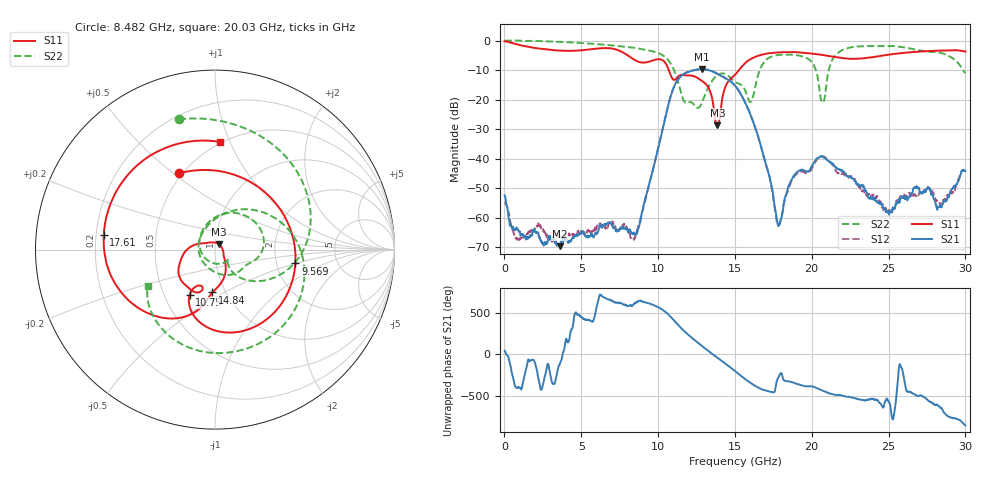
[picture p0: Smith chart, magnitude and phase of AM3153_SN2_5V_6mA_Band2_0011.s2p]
!Agilent Technologies,E8364B,MY43040894,A.07.50.67
!Agilent E8364B: A.07.50.67
!Date: Tuesday, May 12, 2020 09:50:07
!Correction: S11(Full 2 Port(1,2))
!S21(Full 2 Port(1,2))
!S12(Full 2 Port(1,2))
!S22(Full 2 Port(1,2))
!S2P File: Measurements: S11, S21, S12, S22:
# Hz S  dB  R 50
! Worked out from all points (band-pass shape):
!   1601 points, 10 MHz to 30 GHz, reference 50 ohm
!   highest |S21| = -9.70 dB at 12.85 GHz (marker M1); lowest = -69.6 dB at 3.609 GHz (marker M2)
!   |S21| within 3 dB of the highest: 11.37 GHz to 14.37 GHz (2.999 GHz wide, 23.3 % of centre)
!   lowest |S11| = -28.7 dB at 13.86 GHz (marker M3), VSWR 1.08, Z = 52.3 + j3.01 ohm
!   |S11| at or under -10 dB: 10.7 GHz to 15.26 GHz (4.564 GHz wide, 35.2 % of centre)
!   |S22| runs from -22.8 to 0.1 dB; largest |S21 - S12| = 0.0053
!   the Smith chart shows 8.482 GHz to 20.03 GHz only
!   S11 on the Smith chart (normalised r, x): 8.482 GHz: 0.48, +0.52; 9.569 GHz: 2.55, -0.50; 10.75 GHz: 0.67, -0.37; 14.84 GHz: 0.87, -0.44; 17.61 GHz: 0.23, +0.06; 20.03 GHz: 0.49, +0.92
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1e7  -0.21 -6.8  -52.40 45.7  -55.11 -141.7  0.01 -2.0
8.722125e8  -1.34 -78.3  -63.92 -37.8  -67.03 -75.0  0.02 -25.9
1.903119e9  -2.43 -150.1  -64.12 -67.2  -64.72 -38.5  -0.09 -56.7
3.6088e9  -3.39 114.1  -69.62 -111.4  -66.16 -152.6  -0.44 -106.4
5.014581e9  -3.27 34.7  -64.79 92.0  -65.28 105.2  -0.83 -146.7
6.813981e9  -2.57 -87.3  -61.58 -59.8  -61.89 -62.1  -1.54 160.9
7.676194e9  -3.90 -161.0  -63.05 -108.4  -63.04 -102.6  -1.97 133.3
8.482175e9  -6.57 115.2  -65.29 -99.4  -66.75 -121.8  -2.47 105.5
9.569312e9  -6.85 -9.8  -45.76 -113.2  -45.51 -111.3  -3.54 60.0
1.001916e10  -6.31 -55.2  -36.18 -150.0  -36.00 -149.5  -4.26 36.4
1.075017e10  -10.77 -119.3  -20.13 108.1  -19.98 107.1  -7.25 -12.7
1.284947e10  -13.64 -159.7  -9.70 103.3  -9.67 103.0  -21.03 165.9
1.386163e10  -28.65 51.2  -11.28 -39.9  -11.18 -40.7  -11.72 43.9
1.483631e10  -12.42 -93.7  -14.36 -175.5  -14.32 -176.7  -13.30 -18.7
1.5005e10  -11.56 -97.0  -15.27 159.1  -15.22 157.8  -13.99 -24.0
1.761038e10  -4.09 172.7  -57.05 -74.4  -57.32 -104.8  -5.06 -38.8
2.000958e10  -4.40 88.2  -42.41 -25.7  -43.27 -24.5  -7.30 -150.7
2.002832e10  -4.42 87.5  -42.19 -25.4  -43.13 -25.4  -7.43 -151.9
2.072184e10  -4.90 59.2  -39.25 -77.3  -39.20 -75.0  -21.03 -121.3
2.218386e10  -6.02 -9.5  -44.87 -147.5  -45.72 -143.1  -2.79 -135.8
2.501416e10  -4.75 -145.4  -58.30 148.0  -57.49 -158.2  -1.86 134.4
3e10  -3.70 73.8  -44.19 -137.7  -43.98 -133.5  -11.01 -10.8
